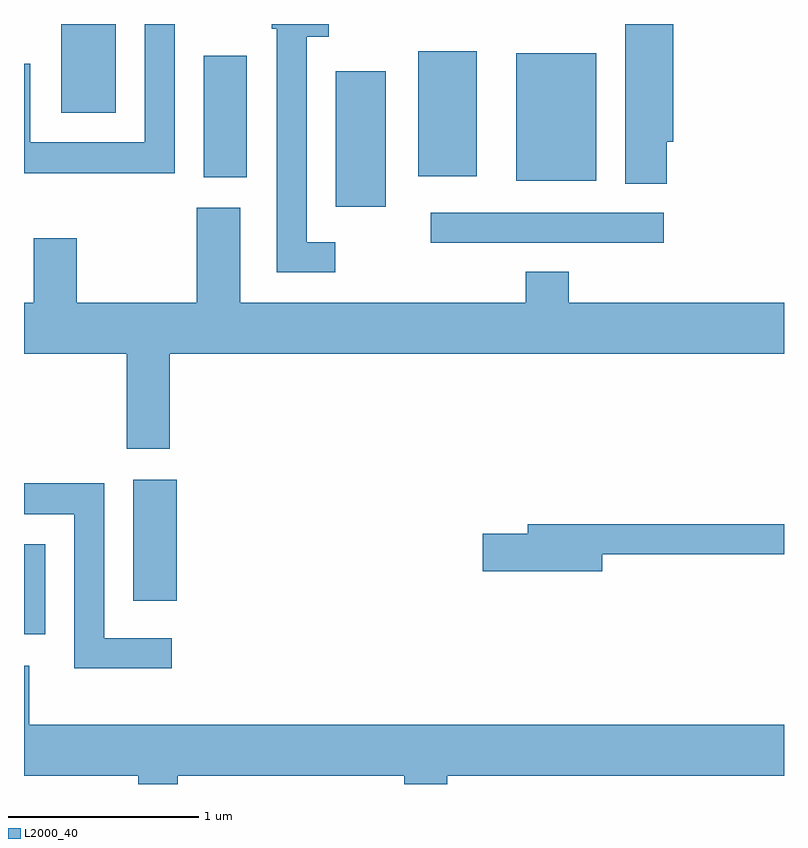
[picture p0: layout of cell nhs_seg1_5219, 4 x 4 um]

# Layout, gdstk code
import gdstk
lib = gdstk.Library(unit=1e-6, precision=1e-09)
def R(c, l, rs):  # rectangles x0, y0, x1, y1
    for r in rs: c.add(gdstk.rectangle(r[:2], r[2:], *l))
def P(c, l, *ps):  # polygons
    for p in ps: c.add(gdstk.Polygon(p, *l))
L2000_40 = (2000, 40)

nhs_seg1_5219 = lib.new_cell('nhs_seg1_5219')
R(nhs_seg1_5219, L2000_40, [(341.611,942.501,341.724,942.974), (342.186,942.676,342.414,943.314), (343.753,944.561,344.978,944.719), (343.251,944.751,343.514,945.464), (344.201,944.886,344.624,945.559), (342.556,944.906,342.784,945.544), (343.686,944.911,343.994,945.569), (341.806,945.246,342.094,945.712)])
P(nhs_seg1_5219, L2000_40, [(342.404,945.712),(342.246,945.712),(342.246,945.089),(341.644,945.089),(341.644,945.503),(341.611,945.503),(341.611,944.926),(342.404,944.926)],
  [(343.248,944.564),(343.099,944.564),(343.099,945.646),(343.214,945.646),(343.214,945.712),(342.916,945.712),(342.916,945.686),(342.941,945.686),(342.941,944.406),(343.248,944.406)],
  [(344.994,945.091),(345.029,945.091),(345.029,945.712),(344.776,945.712),(344.776,944.871),(344.994,944.871)],
  [(342.379,943.976),(345.611,943.976),(345.611,944.244),(344.479,944.244),(344.479,944.409),(344.251,944.409),(344.251,944.244),(342.749,944.244),(342.749,944.744),(342.521,944.744),(342.521,944.244),(341.889,944.244),(341.889,944.584),(341.661,944.584),(341.661,944.244),(341.611,944.244),(341.611,943.976),(342.151,943.976),(342.151,943.476),(342.379,943.476)],
  [(342.388,942.479),(342.034,942.479),(342.034,943.294),(341.611,943.294),(341.611,943.131),(341.876,943.131),(341.876,942.321),(342.388,942.321)],
  [(344.654,942.921),(345.611,942.921),(345.611,943.079),(344.261,943.079),(344.261,943.029),(344.026,943.029),(344.026,942.831),(344.654,942.831)],
  [(342.419,941.756),(343.611,941.756),(343.611,941.712),(343.839,941.712),(343.839,941.756),(345.611,941.756),(345.611,942.024),(341.639,942.024),(341.639,942.334),(341.611,942.334),(341.611,941.756),(342.211,941.756),(342.211,941.712),(342.419,941.712)])

lib.write_gds('nhs_seg1_5219.gds')
